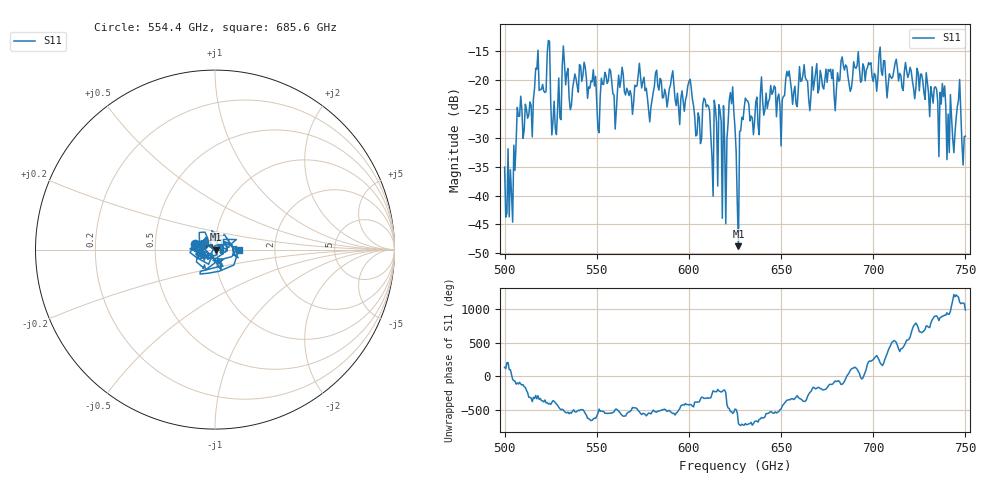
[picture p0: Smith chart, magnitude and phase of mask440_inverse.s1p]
!Created with skrf (http://scikit-rf.org).
# GHz S MA R 50.0
!freq magS11 angS11
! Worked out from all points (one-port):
!   401 points, 500 GHz to 750 GHz, reference 50 ohm
!   lowest |S11| = -48.8 dB at 626.9 GHz (marker M1), VSWR 1.01, Z = 50.4 + j0.0499 ohm
!   |S11| at or under -10 dB: start of sweep to end of sweep
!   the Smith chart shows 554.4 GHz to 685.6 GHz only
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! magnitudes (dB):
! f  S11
! 500 GHz  -35.0
! 503.8 GHz  -39.7
! 508.1 GHz  -26.3
! 513.8 GHz  -23.8
! 516.9 GHz  -17.9
! 523.8 GHz  -13.1
! 526.9 GHz  -23.6
! 531.2 GHz  -17.7
! 542.5 GHz  -19.1
! 551.2 GHz  -29.1
! 553.8 GHz  -20.7
! 562.5 GHz  -21.2
! 593.8 GHz  -22.2
! 600.6 GHz  -19.8
! 605.6 GHz  -26.6
! 609.4 GHz  -24.6
! 619.4 GHz  -30.4
! 623.1 GHz  -24.1
! 625 GHz  -28.2
! 626.9 GHz  -48.8
! 631.2 GHz  -23.5
! 656.2 GHz  -24.2
! 687.5 GHz  -21.9
! 718.8 GHz  -19.5
! 737.5 GHz  -20.6
! 742.5 GHz  -26.5
! 746.2 GHz  -23.5
! 750 GHz  -29.7
